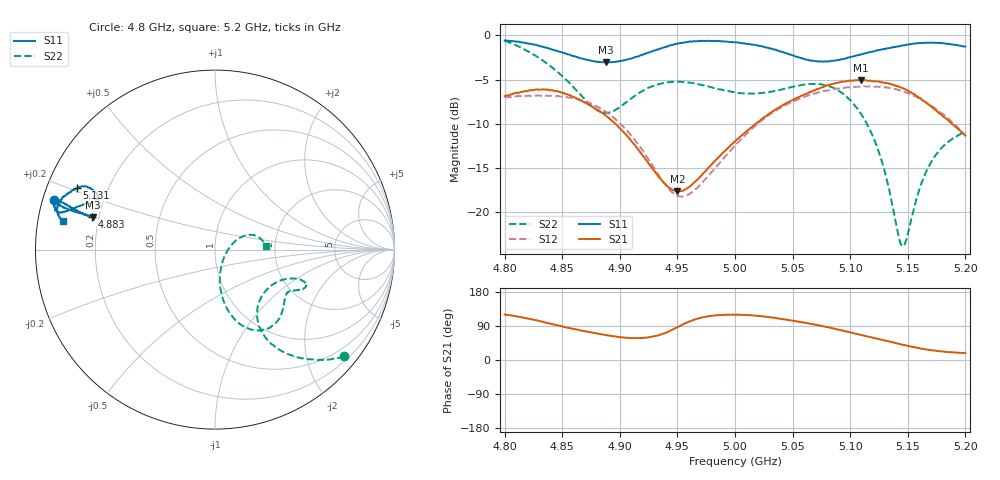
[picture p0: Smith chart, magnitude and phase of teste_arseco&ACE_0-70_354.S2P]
! Network Analyzer HP8722D
! Hewlett-Packard
! Data name: Linha & Wilkinson
! Saver's name: Rodrigo Anjos
! Comments: Teste da utilização de aquisição
! continua pelo VNA HP8722D
! Time and date: 8/5/2025 15:42
!  Frequency  S11  S21  S12  S22
# HZ  S  MA R 50
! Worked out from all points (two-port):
!   401 points, 4.8 GHz to 5.2 GHz, reference 50 ohm
!   highest |S21| = -5.06 dB at 5.109 GHz (marker M1); lowest = -17.7 dB at 4.95 GHz (marker M2)
!   |S21| within 3 dB of the highest: start of sweep to 4.876 GHz; 5.04 GHz to 5.17 GHz (130.9 MHz wide, 2.56 % of centre)
!   lowest |S11| = -3.0 dB at 4.888 GHz (marker M3), VSWR 5.76, Z = 8.82 + j6.28 ohm
!   |S11| at or under -10 dB: nowhere
!   |S22| runs from -23.9 to -0.6 dB; largest |S21 - S12| = 0.73
!   S11 on the Smith chart (normalised r, x): 4.8 GHz: 0.03, +0.15; 4.883 GHz: 0.17, +0.13; 5.131 GHz: 0.09, +0.21; 5.2 GHz: 0.07, +0.09
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4.8e9  0.9371 162.9  0.4538 120.0  0.4466 15.4  0.9325 -39.6
4.833e9  0.8628 164.5  0.4947 101.1  0.4557 4.8  0.722 -54.4
4.867e9  0.7409 164.9  0.4257 77.3  0.4292 -10.2  0.4535 -58.5
4.883e9  0.7064 165.2  0.3699 68.6  0.3866 -19.4  0.3692 -45.6
4.888e9  0.7041 165.2  0.3514 65.8  0.3686 -22.3  0.3634 -39.6
4.908e9  0.7359 165.0  0.2619 58.2  0.28 -32.0  0.4297 -22.2
4.934e9  0.8376 163.6  0.1577 65.4  0.1607 -29.3  0.5287 -19.9
4.95e9  0.8988 162.7  0.1305 86.3  0.1234 -8.0  0.5465 -22.1
4.965e9  0.928 162.8  0.1477 106.8  0.133 15.9  0.5336 -24.2
5e9  0.9138 166.2  0.2509 119.5  0.2376 37.5  0.4756 -29.2
5.033e9  0.836 164.7  0.3729 111.8  0.367 32.4  0.4826 -36.8
5.067e9  0.7187 157.5  0.4826 94.8  0.4652 17.2  0.531 -51.8
5.088e9  0.7234 155.0  0.5375 81.5  0.4986 5.1  0.4943 -64.8
5.109e9  0.7807 153.8  0.5582 66.4  0.5132 -7.6  0.3625 -76.9
5.121e9  0.813 154.4  0.55 57.9  0.5132 -15.1  0.2559 -81.6
5.131e9  0.8428 156.0  0.5391 50.8  0.5085 -21.8  0.1597 -80.5
5.134e9  0.8479 156.5  0.5308 48.9  0.5034 -23.9  0.1323 -77.3
5.142e9  0.8656 158.4  0.5152 43.0  0.4918 -29.3  0.07283 -51.5
5.146e9  0.8806 159.2  0.5015 40.1  0.4804 -31.8  0.06395 -23.3
5.16e9  0.9061 162.6  0.4426 31.0  0.4404 -40.1  0.1338 24.0
5.17e9  0.9102 164.6  0.3968 25.9  0.4014 -45.2  0.1902 24.8
5.2e9  0.8645 169.4  0.2705 18.3  0.272 -54.2  0.2833 4.2
